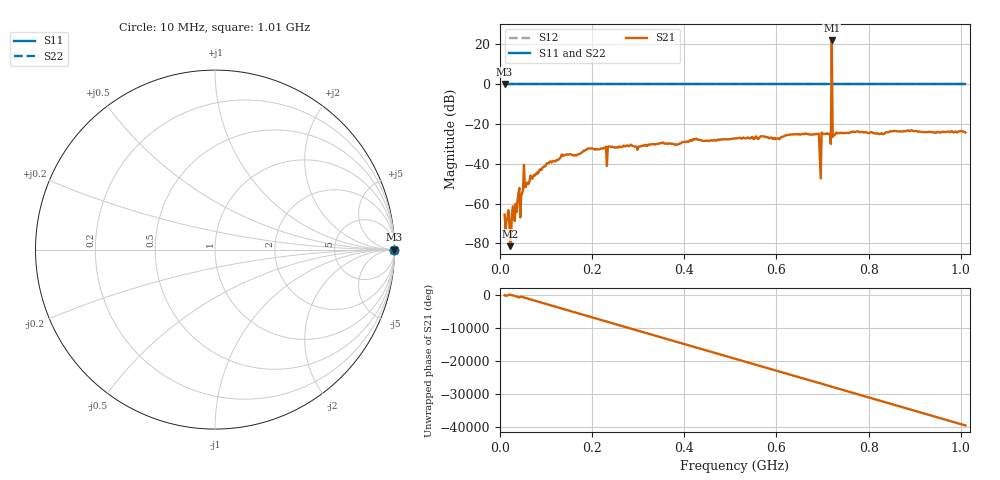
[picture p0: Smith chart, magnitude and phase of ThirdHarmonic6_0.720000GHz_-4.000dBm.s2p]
! 8/16/2025 12:04:04 AM
! C:\ANRITSUVNA\TEMP\TEMP.S2P
! CHANNEL.1
! TR.MEASUREMENT
! RAW.DATA
! RF.CORRECTION.OFF
! AVERAGING.OFF
! IF.BANDWIDTH: 5KHZ
! SWEEPTYPE:  FREQ.SWEEP(Linear)
! Reference Plane Port Info
! PORT:  PORT1  PORT2
! DISTANCE:  0  m  0  m
! TIME:  0  s  0  s
! PHASE.OFFSET:  0  deg.  0  deg.
! LOSS:  0  dB  0  dB
! REF.LOSS:  0  dB  0  dB
! REF.FREQ:  0  Hz  0  Hz
! Power Info
! POWER:  -20  dBm  -20  dBm
! EFF.POWER:  -20  dBm  -20  dBm
! SOURCE.ATTEN:  0  dB  0  dB
! TEST.ATTEN:  0  dB  0  dB
# GHZ S RI R 50.0
! FREQ.GHZ  S11RE  S11IM  S21RE  S21IM  S12RE  S12IM  S22RE  S22IM
!; PortSelection: Port_12
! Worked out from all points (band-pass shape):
!   501 points, 10 MHz to 1.01 GHz, reference 50 ohm
!   highest |S21| = 21.76 dB at 720 MHz (marker M1); lowest = -81.4 dB at 22 MHz (marker M2)
!   |S21| within 3 dB of the highest: 719.8844 MHz to 720.1241 MHz (239.7 kHz wide, 0.0333 % of centre)
!   lowest |S11| = 0.0 dB at 10 MHz (marker M3)
!   |S11| at or under -10 dB: nowhere
!   |S22| runs from 0.0 to 0.0 dB; largest |S21 - S12| = 12
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0.01  1 0  -0.000381 -0.000371  1 0  1 0
0.022  1 0  3.4e-05 7.82e-05  1 0  1 0
0.038  1 0  -0.000384 0.00111  1 0  1 0
0.046  1 0  -0.00144 0.000575  1 0  1 0
0.056  1 0  -0.000352 0.00258  1 0  1 0
0.058  1 0  0.00293 0.00146  1 0  1 0
0.106  1 0  -0.00721 -0.00734  1 0  1 0
0.178  1 0  -0.0189 -0.00434  1 0  1 0
0.344  1 0  0.0306 -0.00775  1 0  1 0
0.51  1 0  -0.0392 0.0169  1 0  1 0
0.678  1 0  -0.0264 -0.047  1 0  1 0
0.688  1 0  -0.053 -0.0181  1 0  1 0
0.692  1 0  0.0438 0.0346  1 0  1 0
0.698  1 0  -0.0547 0.0258  1 0  1 0
0.702  1 0  0.055 -0.00856  1 0  1 0
0.714  1 0  -0.0349 -0.0419  1 0  1 0
0.716  1 0  -0.0489 0.0282  1 0  1 0
0.72  1 0  -0.1819 -12.24  1 0  1 0
0.724  1 0  -0.0511 -0.0061  1 0  1 0
0.726  1 0  -0.0174 0.0489  1 0  1 0
0.844  1 0  0.0467 0.0416  1 0  1 0
1.01  1 0  -0.0593 -0.0109  1 0  1 0
